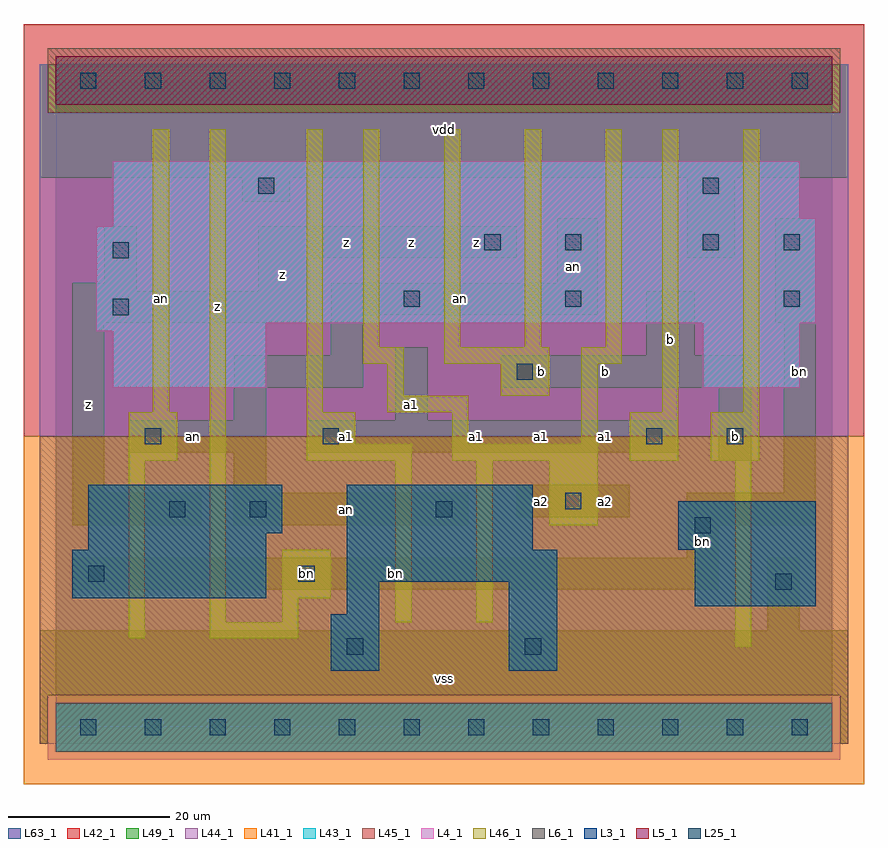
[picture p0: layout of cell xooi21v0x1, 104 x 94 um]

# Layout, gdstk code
import gdstk
lib = gdstk.Library(unit=1e-6, precision=1e-09)
def R(c, l, rs):  # rectangles x0, y0, x1, y1
    for r in rs: c.add(gdstk.rectangle(r[:2], r[2:], *l))
def A(c, l, x, y, w, h, nx, ny, dx, dy):  # array of equal rectangles
    R(c, l, [(x+i*dx, y+j*dy, x+i*dx+w, y+j*dy+h) for i in range(nx) for j in range(ny)])
L3_1 = (3, 1)
L4_1 = (4, 1)
L5_1 = (5, 1)
L6_1 = (6, 1)
L25_1 = (25, 1)
L41_1 = (41, 1)
L42_1 = (42, 1)
L43_1 = (43, 1)
L44_1 = (44, 1)
L45_1 = (45, 1)
L46_1 = (46, 1)
L49_1 = (49, 1)
L63_1 = (63, 1)

xooi21v0x1 = lib.new_cell('xooi21v0x1')
R(xooi21v0x1, L3_1, [(34,7,40,14), (56,7,62,18), (36,14,40,18), (79,15,94,22), (2,16,26,22), (36,18,62,22), (4,22,26,24), (36,22,59,30), (77,22,94,28), (4,24,28,30)])
R(xooi21v0x1, L4_1, [(7,42,26,49), (80,42,92,50), (5,49,26,50), (5,50,94,62), (7,62,94,63), (7,63,92,70)])
R(xooi21v0x1, L5_1, [(0,77,96,83)])
R(xooi21v0x1, L6_1, [(0,-3,96,3), (0,-3,96,3)])
A(xooi21v0x1, L25_1, 3, -1, 2, 2, 12, 2, 8, 80)
R(xooi21v0x1, L25_1, [(36,9,38,11), (58,9,60,11), (89,17,91,19), (4,18,6,20), (30,18,32,20), (79,24,81,26), (14,26,16,28), (24,26,26,28), (47,26,49,28), (63,27,65,29), (11,35,13,37), (33,35,35,37), (73,35,75,37), (83,35,85,37), (57,43,59,45), (7,51,9,53), (43,52,45,54), (63,52,65,54), (90,52,92,54), (7,58,9,60), (53,59,55,61), (63,59,65,61), (80,59,82,61), (90,59,92,61), (25,66,27,68), (80,66,82,68)])
R(xooi21v0x1, L41_1, [(-4,-7,100,36)])
R(xooi21v0x1, L42_1, [(-4,36,100,87)])
R(xooi21v0x1, L43_1, [(0,-3,96,3), (34,7,40,14), (56,7,62,18), (36,14,40,18), (79,15,94,22), (2,16,26,22), (36,18,62,22), (4,22,26,24), (36,22,59,30), (77,22,94,28), (4,24,28,30), (7,42,26,49), (80,42,92,50), (5,49,26,50), (5,50,94,62), (7,62,94,63), (7,63,92,70), (0,77,96,83)])
R(xooi21v0x1, L44_1, [(-1,-4,97,4), (-2,36,98,76), (-2,76,-1,82), (97,76,98,82)])
R(xooi21v0x1, L45_1, [(-2,-2,-1,4), (97,-2,98,4), (-2,4,98,36), (-1,76,97,84)])
A(xooi21v0x1, L46_1, 38, 47, 2, 27, 4, 1, 10, 0)
R(xooi21v0x1, L46_1, [(84,10,86,33), (9,11,11,33), (19,11,30,13), (19,13,21,74), (28,13,30,16), (42,13,44,33), (52,13,54,33), (28,16,34,22), (61,25,67,33), (9,33,15,39), (31,33,44,35), (49,33,67,35), (71,33,77,39), (81,33,87,39), (31,35,37,39), (49,35,51,39), (65,35,67,45), (12,39,14,74), (31,39,33,74), (41,39,51,41), (75,39,77,74), (85,39,87,74), (41,41,43,45), (55,41,61,45), (38,45,43,47), (48,45,61,47), (65,45,70,47)])
R(xooi21v0x1, L49_1, [(-2,-2,98,12), (88,12,92,21), (2,17,82,21), (78,21,82,25), (2,25,18,29), (22,25,51,29), (78,25,94,29), (57,26,71,30), (2,29,6,50), (22,29,26,34), (90,29,94,50), (82,33,86,42), (9,34,26,38), (31,34,77,38), (22,38,26,42), (42,38,46,47), (22,42,38,46), (55,42,86,46), (34,46,38,51), (73,46,79,54), (2,50,31,54), (89,50,94,63), (34,51,67,55), (2,54,10,55), (25,54,31,58), (6,55,10,62), (62,55,67,63), (25,58,57,62), (78,58,84,68), (23,65,29,68), (-2,68,98,82)])
R(xooi21v0x1, L63_1, [(0,0,96,80)])
xooi21v0x1.add(gdstk.Label('an', (13,53), layer=46, texttype=1))
xooi21v0x1.add(gdstk.Label('bn', (31,19), layer=49, texttype=1))
xooi21v0x1.add(gdstk.Label('z', (4,40), layer=49, texttype=1))
xooi21v0x1.add(gdstk.Label('z', (12,52), layer=49, texttype=1))
xooi21v0x1.add(gdstk.Label('an', (17,36), layer=49, texttype=1))
xooi21v0x1.add(gdstk.Label('z', (20,52), layer=49, texttype=1))
xooi21v0x1.add(gdstk.Label('z', (28,56), layer=49, texttype=1))
xooi21v0x1.add(gdstk.Label('vss', (48,6), layer=49, texttype=1))
xooi21v0x1.add(gdstk.Label('an', (36,27), layer=49, texttype=1))
xooi21v0x1.add(gdstk.Label('a1', (36,36), layer=49, texttype=1))
xooi21v0x1.add(gdstk.Label('a1', (44,40), layer=49, texttype=1))
xooi21v0x1.add(gdstk.Label('a1', (52,36), layer=49, texttype=1))
xooi21v0x1.add(gdstk.Label('z', (36,60), layer=49, texttype=1))
xooi21v0x1.add(gdstk.Label('z', (44,60), layer=49, texttype=1))
xooi21v0x1.add(gdstk.Label('z', (52,60), layer=49, texttype=1))
xooi21v0x1.add(gdstk.Label('vdd', (48,74), layer=49, texttype=1))
xooi21v0x1.add(gdstk.Label('a2', (60,28), layer=49, texttype=1))
xooi21v0x1.add(gdstk.Label('a2', (68,28), layer=49, texttype=1))
xooi21v0x1.add(gdstk.Label('a1', (60,36), layer=49, texttype=1))
xooi21v0x1.add(gdstk.Label('b', (60,44), layer=49, texttype=1))
xooi21v0x1.add(gdstk.Label('a1', (68,36), layer=49, texttype=1))
xooi21v0x1.add(gdstk.Label('b', (68,44), layer=49, texttype=1))
xooi21v0x1.add(gdstk.Label('b', (76,48), layer=49, texttype=1))
xooi21v0x1.add(gdstk.Label('an', (50,53), layer=49, texttype=1))
xooi21v0x1.add(gdstk.Label('an', (64,57), layer=49, texttype=1))
xooi21v0x1.add(gdstk.Label('bn', (80,23), layer=49, texttype=1))
xooi21v0x1.add(gdstk.Label('bn', (42,19), layer=49, texttype=1))
xooi21v0x1.add(gdstk.Label('b', (84,36), layer=49, texttype=1))
xooi21v0x1.add(gdstk.Label('bn', (92,44), layer=49, texttype=1))

lib.write_gds('xooi21v0x1.gds')
